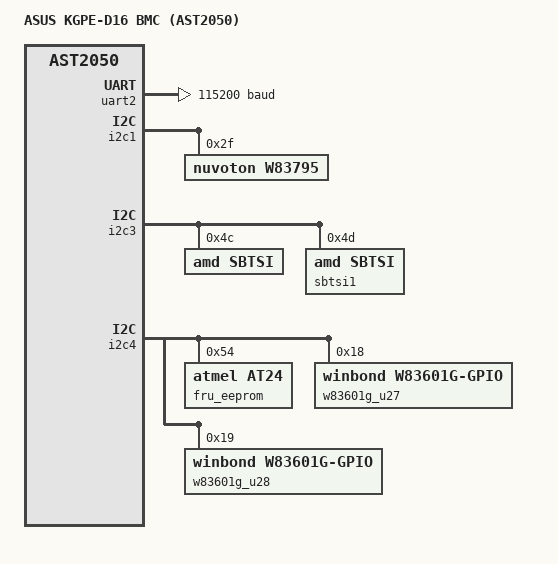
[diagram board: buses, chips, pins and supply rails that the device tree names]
/*
 * ASUS KGPE-D16 BMC (ASPEED AST2050) — Zephyr board.
 * SPDX-License-Identifier: Apache-2.0
 */

/dts-v1/;
#include <aspeed/ast2050.dtsi>

/ {
	model = "ASUS KGPE-D16 BMC (AST2050)";
	compatible = "aspeed,kgpe-d16-bmc", "aspeed,ast2050";

	chosen {
		zephyr,sram = &ddram;
		zephyr,console = &uart2;
		zephyr,shell-uart = &uart2;
	};
};

&uart2 {
	current-speed = <115200>;
	status = "okay";
};

/*
 * ASUS KGPE-D16 board-specific I2C slave devices. These were moved OUT of the
 * reusable SoC include (dts/aspeed/ast2050.dtsi) so a different AST2050 board
 * reusing that include does not inherit this board's sensors/EEPROM/expanders
 * (device-driver-program #166 / DTS-review Finding 3). The kgpe-d16-bmc QEMU
 * machine (hw/arm/aspeed.c kgpe_d16_bmc_i2c_init) wires these at the same
 * engines/addresses.
 */
&i2c1 { /* engine 1 = schematic I2C2 */
	/* Nuvoton/Winbond W83795G hardware monitor @0x2f. */
	w83795: hwmon@2f {
		compatible = "nuvoton,w83795";
		reg = <0x2f>;
		status = "okay";
	};
};

&i2c3 { /* engine 3 = schematic I2C4 */
	/* AMD SB-TSI CPU thermal sensors, sockets P0/P1. */
	sbtsi: temperature-sensor@4c {
		compatible = "amd,sbtsi";
		reg = <0x4c>;
		status = "okay";
	};

	sbtsi1: temperature-sensor@4d {
		compatible = "amd,sbtsi";
		reg = <0x4d>;
		status = "okay";
	};
};

&i2c4 { /* engine 4 = schematic I2C5 */
	/*
	 * Board FRU EEPROM (U25, Holtek HT24LC08) @0x54 — the upper-strapped device
	 * (E2=VCC; silicon i2c-scan confirmed it ACKs 0x54-0x57). Blank (0xff) as
	 * ASUS shipped it.
	 */
	fru_eeprom: eeprom@54 {
		compatible = "atmel,at24";
		reg = <0x54>;
		size = <256>;
		pagesize = <16>;
		address-width = <8>;
		timeout = <5>;
		status = "okay";
	};

	/* W83601G DIMM-LED I2C GPIO expanders U27 (@0x18, DIMM A-F) + U28 (@0x19, G/H). */
	w83601g_u27: gpio@18 {
		compatible = "winbond,w83601g-gpio";
		reg = <0x18>;
		gpio-controller;
		#gpio-cells = <2>;
		ngpios = <15>;   /* W83601G: Port1 8 + Port2 7 = 15 (Port2 bit7 reserved) */
		status = "okay";
	};

	w83601g_u28: gpio@19 {
		compatible = "winbond,w83601g-gpio";
		reg = <0x19>;
		gpio-controller;
		#gpio-cells = <2>;
		ngpios = <15>;   /* W83601G: Port1 8 + Port2 7 = 15 (Port2 bit7 reserved) */
		status = "okay";
	};
};
